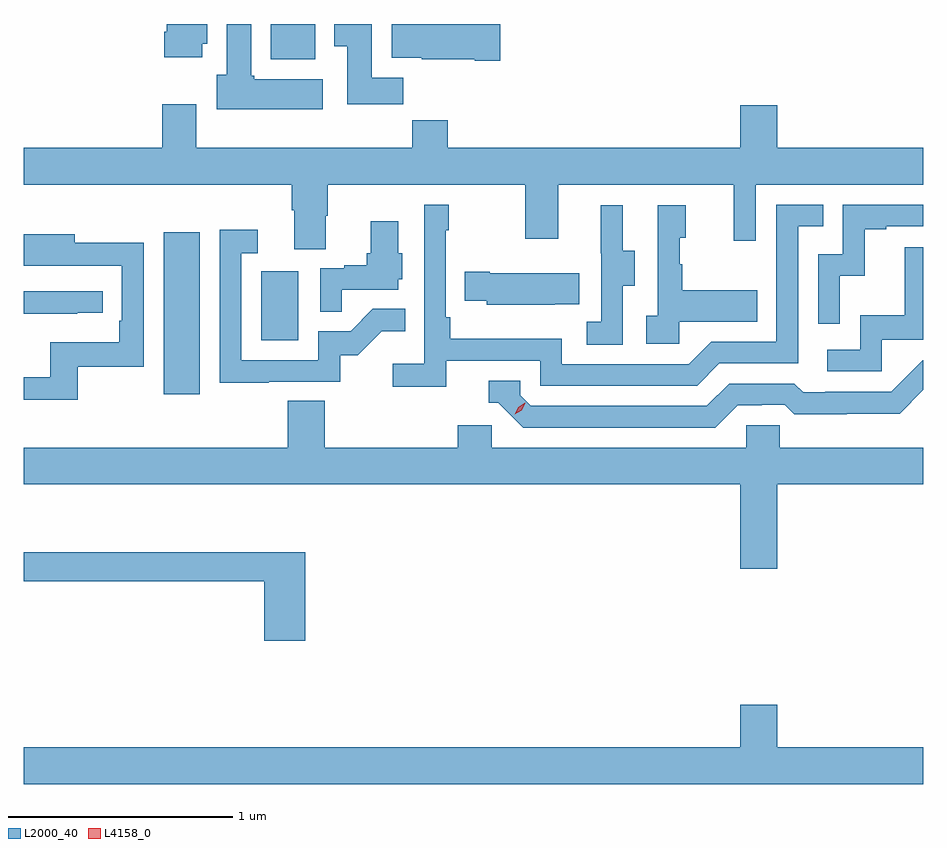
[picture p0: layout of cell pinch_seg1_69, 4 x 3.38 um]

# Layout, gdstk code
import gdstk
lib = gdstk.Library(unit=1e-6, precision=1e-09)
def R(c, l, rs):  # rectangles x0, y0, x1, y1
    for r in rs: c.add(gdstk.rectangle(r[:2], r[2:], *l))
def P(c, l, *ps):  # polygons
    for p in ps: c.add(gdstk.Polygon(p, *l))
L2000_40 = (2000, 40)
L4158_0 = (4158, 0)

pinch_seg1_69 = lib.new_cell('pinch_seg1_69')
R(pinch_seg1_69, L2000_40, [(1037.567,576.108,1037.728,576.829), (1038.002,576.348,1038.166,576.655), (1038.044,577.598,1038.241,577.755)])
P(pinch_seg1_69, L2000_40, [(1037.74,577.668),(1037.761,577.668),(1037.761,577.755),(1037.582,577.755),(1037.582,577.72),(1037.57,577.72),(1037.57,577.608),(1037.74,577.608)],
  [(1038.632,577.516),(1038.493,577.516),(1038.493,577.755),(1038.326,577.755),(1038.326,577.657),(1038.383,577.657),(1038.383,577.398),(1038.632,577.398)],
  [(1038.274,577.51),(1037.97,577.51),(1037.97,577.524),(1037.956,577.524),(1037.956,577.755),(1037.849,577.755),(1037.849,577.53),(1037.804,577.53),(1037.804,577.376),(1038.274,577.376)],
  [(1039.063,577.755),(1038.581,577.755),(1038.581,577.604),(1038.714,577.604),(1038.714,577.598),(1038.95,577.598),(1038.95,577.591),(1039.063,577.591)],
  [(1038.289,576.903),(1038.297,576.903),(1038.297,577.04),(1039.174,577.04),(1039.174,576.801),(1039.321,576.801),(1039.321,577.04),(1040.102,577.04),(1040.102,576.792),(1040.199,576.792),(1040.199,577.04),(1040.945,577.04),(1040.945,577.204),(1040.296,577.204),(1040.296,577.393),(1040.132,577.393),(1040.132,577.204),(1038.83,577.204),(1038.83,577.328),(1038.673,577.328),(1038.673,577.204),(1037.713,577.204),(1037.713,577.399),(1037.561,577.399),(1037.561,577.204),(1036.945,577.204),(1036.945,577.04),(1038.137,577.04),(1038.137,576.928),(1038.149,576.928),(1038.149,576.754),(1038.289,576.754)],
  [(1038.824,576.258),(1039.242,576.258),(1039.242,576.147),(1039.939,576.147),(1040.038,576.246),(1040.388,576.246),(1040.388,576.855),(1040.501,576.855),(1040.501,576.951),(1040.292,576.951),(1040.292,576.342),(1040.001,576.342),(1039.902,576.243),(1039.338,576.243),(1039.338,576.355),(1038.842,576.355),(1038.842,576.451),(1038.822,576.451),(1038.822,576.839),(1038.835,576.839),(1038.835,576.952),(1038.726,576.952),(1038.726,576.244),(1038.585,576.244),(1038.585,576.142),(1038.824,576.142)],
  [(1040.574,576.635),(1040.684,576.635),(1040.684,576.843),(1040.779,576.843),(1040.779,576.855),(1040.945,576.855),(1040.945,576.951),(1040.586,576.951),(1040.586,576.732),(1040.478,576.732),(1040.478,576.423),(1040.574,576.423)],
  [(1039.608,576.592),(1039.663,576.592),(1039.663,576.747),(1039.609,576.747),(1039.609,576.949),(1039.511,576.949),(1039.511,576.735),(1039.512,576.735),(1039.512,576.431),(1039.449,576.431),(1039.449,576.328),(1039.608,576.328)],
  [(1039.86,576.431),(1040.207,576.431),(1040.207,576.571),(1039.873,576.571),(1039.873,576.686),(1039.863,576.686),(1039.863,576.804),(1039.888,576.804),(1039.888,576.949),(1039.764,576.949),(1039.764,576.458),(1039.713,576.458),(1039.713,576.333),(1039.86,576.333)],
  [(1038.359,576.573),(1038.61,576.573),(1038.61,576.621),(1038.628,576.621),(1038.628,576.735),(1038.61,576.735),(1038.61,576.877),(1038.488,576.877),(1038.488,576.735),(1038.47,576.735),(1038.47,576.682),(1038.371,576.682),(1038.371,576.669),(1038.264,576.669),(1038.264,576.475),(1038.359,576.475)],
  [(1038.035,576.165),(1038.353,576.165),(1038.353,576.282),(1038.43,576.282),(1038.537,576.389),(1038.641,576.389),(1038.641,576.488),(1038.497,576.488),(1038.399,576.39),(1038.255,576.39),(1038.255,576.261),(1037.913,576.261),(1037.913,576.735),(1037.986,576.735),(1037.986,576.841),(1037.817,576.841),(1037.817,576.16),(1038.035,576.16)],
  [(1037.185,576.231),(1037.478,576.231),(1037.478,576.782),(1037.173,576.782),(1037.173,576.82),(1036.945,576.82),(1036.945,576.68),(1037.069,576.68),(1037.069,576.681),(1037.382,576.681),(1037.382,576.436),(1037.369,576.436),(1037.369,576.34),(1037.064,576.34),(1037.064,576.185),(1036.945,576.185),(1036.945,576.084),(1037.185,576.084)],
  [(1040.76,576.351),(1040.945,576.351),(1040.945,576.763),(1040.863,576.763),(1040.863,576.46),(1040.664,576.46),(1040.664,576.306),(1040.517,576.306),(1040.517,576.21),(1040.76,576.21)],
  [(1039.307,576.509),(1039.415,576.509),(1039.415,576.646),(1039.018,576.646),(1039.018,576.654),(1038.907,576.654),(1038.907,576.524),(1039.005,576.524),(1039.005,576.506),(1039.307,576.506)],
  [(1037.183,576.471),(1037.296,576.471),(1037.296,576.567),(1036.945,576.567),(1036.945,576.466),(1037.183,576.466)],
  [(1040.119,576.06),(1040.226,576.06),(1040.226,576.063),(1040.329,576.063),(1040.371,576.021),(1040.604,576.021),(1040.604,576.023),(1040.84,576.023),(1040.945,576.128),(1040.945,576.261),(1040.943,576.261),(1040.802,576.12),(1040.509,576.12),(1040.509,576.117),(1040.41,576.117),(1040.371,576.156),(1040.082,576.156),(1039.983,576.057),(1039.2,576.057),(1039.152,576.105),(1039.152,576.168),(1039.013,576.168),(1039.013,576.072),(1039.056,576.072),(1039.167,575.961),(1040.02,575.961)],
  [(1040.296,575.708),(1040.945,575.708),(1040.945,575.872),(1040.307,575.872),(1040.307,575.97),(1040.157,575.97),(1040.157,575.872),(1039.026,575.872),(1039.026,575.97),(1038.875,575.97),(1038.875,575.872),(1038.284,575.872),(1038.284,576.08),(1038.119,576.08),(1038.119,575.872),(1036.945,575.872),(1036.945,575.708),(1040.132,575.708),(1040.132,575.334),(1040.296,575.334)],
  [(1038.197,575.407),(1036.945,575.407),(1036.945,575.278),(1038.014,575.278),(1038.014,575.013),(1038.197,575.013)],
  [(1040.945,574.54),(1040.296,574.54),(1040.296,574.729),(1040.132,574.729),(1040.132,574.54),(1036.945,574.54),(1036.945,574.376),(1040.945,574.376)])
P(pinch_seg1_69, L4158_0, [(1039.128,576.019),(1039.128,576.019),(1039.145,576.052),(1039.176,576.071),(1039.176,576.071),(1039.176,576.07),(1039.16,576.038),(1039.129,576.019)])

lib.write_gds('pinch_seg1_69.gds')
